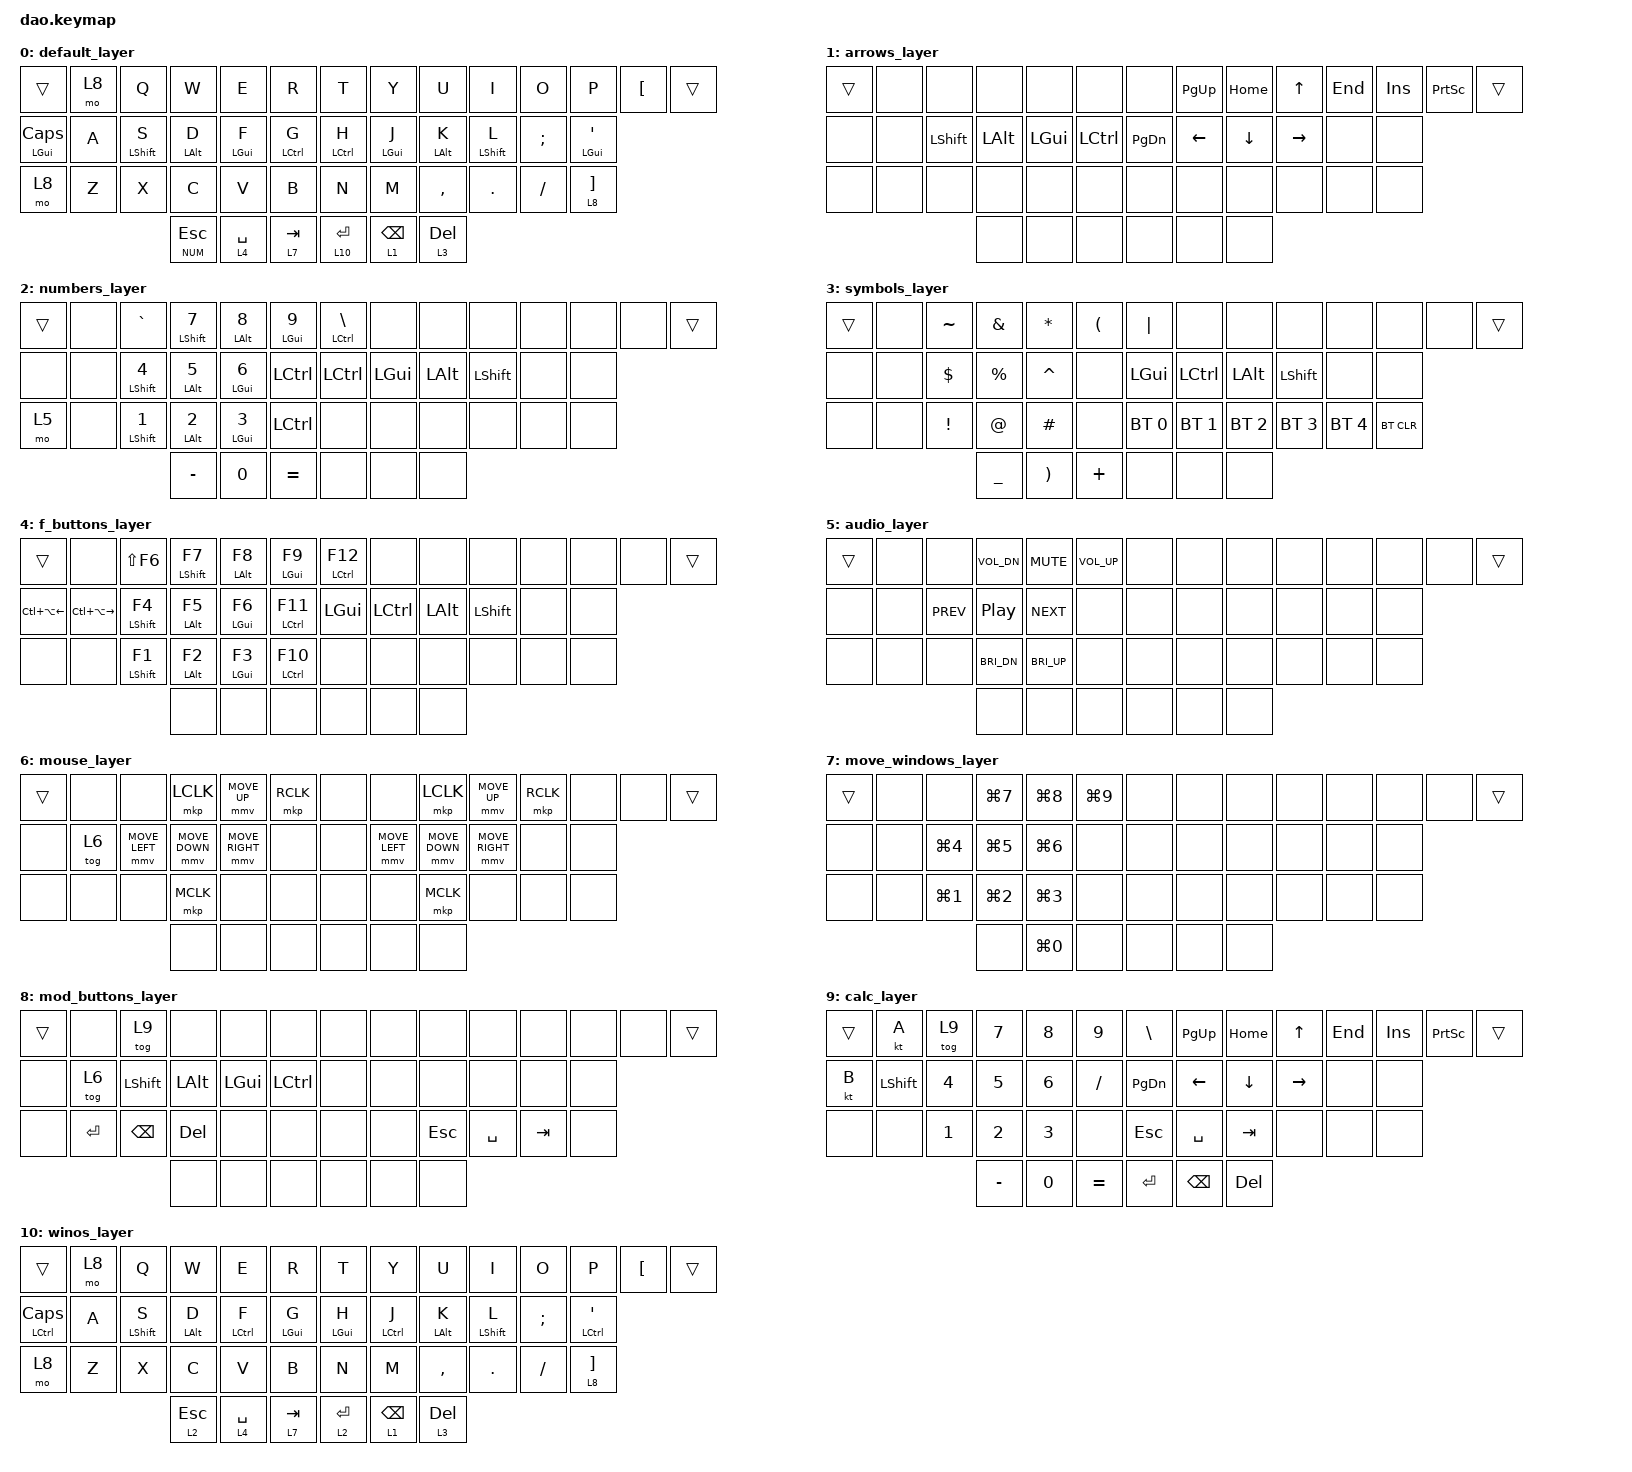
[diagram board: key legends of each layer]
#include <behaviors.dtsi>
#include <dt-bindings/zmk/bt.h>
#include <dt-bindings/zmk/keys.h>
#include <dt-bindings/zmk/keys.h>
#include <dt-bindings/zmk/rgb.h>

#

#define NUM 2

// dt-formatter: indent = "  "
// dt-formatter: multilineIntegerCellsIndent = "reindent"
// dt-formatter: multilineListCommaStyle = "leading"

&sk {
  /delete-property/ ignore-modifiers;
};

/ {
  combos {
    compatible = "zmk,combos";

    tab {
      key-positions = <2 3>;
      bindings = <&kp TAB>;
    };

    ctrl {
      key-positions = <26 27>;
      bindings = <&kp LCTRL>;
    };

    cmd {
      key-positions = <37 38>;
      bindings = <&kp LCMD>;
    };

    alt {
      key-positions = <39 40>;
      bindings = <&kp LEFT_ALT>;
    };

    shift {
      key-positions = <8 9>;
      bindings = <&kp LSHIFT>;
    };

    caps_word {
      key-positions = <17 18>;
      bindings = <&caps_word>;
    };

    delete {
      key-positions = <32 33>;
      bindings = <&kp DEL>;
    };
  };

  macros {
    greeting: greeting {
      compatible = "zmk,behavior-macro";
      #binding-cells = <0>;
      label = "greeting";
      bindings = <&kp H &kp E &kp L &kp L &kp O>;
    };
    rgblayer: rgb_layer {
      compatible = "zmk,behavior-macro-two-param";
      #binding-cells = <2>;
      label = "MOMENTARY_LAYER_WITH_RGB_COLOR";
      bindings
        = <&macro_param_2to2 &rgb_ug RGB_COLOR_HSB_CMD MACRO_PLACEHOLDER &macro_param_1to1>
        , <&macro_press>
        , <&mo MACRO_PLACEHOLDER>
        , <&macro_pause_for_release>
        , <&macro_release>
        , <&macro_param_1to1 &mo 0>
        , <&macro_tap>
        , <&rgb_ug RGB_TOG>
        ;
    };
    shift: with_lshift {
      compatible = "zmk,behavior-macro-one-param";
      #binding-cells = <1>;
      label = "KEY_PRESS_WITH_LEFT_SHIFT_MODIFIER";
      bindings
        = <&macro_press>
        , <&kp LSHFT>
        , <&macro_tap>
        , <&macro_param_1to1 &kp MACRO_PLACEHOLDER>
        , <&macro_release>
        , <&kp LSHFT>
        ;
    };
    as: autoshift {
      compatible = "zmk,behavior-macro-one-param";
      #binding-cells = <1>;
      label = "AUTOSHIFT_KEYPRESS";
      bindings
        = <&macro_press>
        , <&macro_param_1to1 &macro_param_1to2 &as_ht MACRO_PLACEHOLDER MACRO_PLACEHOLDER>
        , <&macro_pause_for_release>
        , <&macro_release>
        , <&macro_param_1to1 &macro_param_1to2 &as_ht MACRO_PLACEHOLDER MACRO_PLACEHOLDER>
        ;
    };
    mouse_on: mouse_on {
      label = "mouse_on";
      compatible = "zmk,behavior-macro";
      #binding-cells = <0>;
      bindings = <&macro_tap>, <&tog 6>;
    };
    mouse_off: mouse_off {
      label = "mouse_off";
      compatible = "zmk,behavior-macro";
      #binding-cells = <0>;
      bindings = <&macro_tap>, <&tog 6>;
    };
    lang: lang {
      label = "lang";
      compatible = "zmk,behavior-macro";
      #binding-cells = <0>;
      bindings = <&kp CAPS>;
    };
    calc_on: calc_on {
      label = "calc_on";
      compatible = "zmk,behavior-macro";
      #binding-cells = <0>;
      bindings = <&macro_tap>, <&tog 9>;
    };
    calc_off: calc_off {
      label = "calc_off";
      compatible = "zmk,behavior-macro";
      #binding-cells = <0>;
      bindings = <&macro_tap>, <&tog 9>;
    };
  };

  behaviors {
    as_ht: autoshift_hold_tap {
      compatible = "zmk,behavior-hold-tap";
      #binding-cells = <2>;
      label = "AUTOSHIFT_HOLD_TAP";
      bindings = <&shift>, <&kp>;

      tapping-term-ms = <190>;
    };
    hml: homewrow_mods_left {
      compatible = "zmk,behavior-hold-tap";
      #binding-cells = <2>;
      label = "HOMEROW_MODS_LEFT_HAND";
      bindings = <&kp>, <&kp>;

      tapping-term-ms = <200>;
      hold-trigger-key-positions = <6 7 8 9 10 11 18 19 20 21 22 23 30 31 32 33 34 35 39 40 41>;
    };
    hmr: homewrow_mods_right {
      compatible = "zmk,behavior-hold-tap";
      #binding-cells = <2>;
      label = "HOMEROW_MODS_RIGHT_HAND";
      bindings = <&kp>, <&kp>;

      tapping-term-ms = <200>;
      hold-trigger-key-positions = <0 1 2 3 4 5 12 13 14 15 16 17 24 25 26 27 28 29 36 37 38>;
    };
    capdance: capdance {
      compatible = "zmk,behavior-tap-dance";
      label = "CAPDANCE";
      #binding-cells = <0>;
      bindings = <&caps_word>, <&kp CAPS>;
    };
    volknob: volume_encoder {
      compatible = "zmk,behavior-sensor-rotate";
      label = "ENCODER_VOLUME_KNOB";
      #sensor-binding-cells = <0>;
      bindings = <&kp C_VOL_UP>, <&kp C_VOL_DN>;
    };
    rgbknob: rgb_encoder {
      compatible = "zmk,behavior-sensor-rotate-var";
      label = "ENCODER_RGB";
      #sensor-binding-cells = <2>;
      bindings = <&rgb_ug>, <&rgb_ug>;
    };
  };

  conditional_layers {
    compatible = "zmk,conditional-layers";

    tri_layer {
      if-layers = <1 2>;
      then-layer = <3>;
    };
  };

  keymap {
    compatible = "zmk,keymap";

    default_layer {
      bindings = <
        &trans         &mo 8  &kp Q        &kp W        &kp E        &kp R          &kp T        &kp Y       &kp U       &kp I        &kp O     &kp P         &kp LBKT    &trans
        &mt LGUI CAPS  &kp A  &mt LSHFT S  &mt LALT D   &mt LGUI F   &mt LCTRL G    &mt LCTRL H  &mt LGUI J  &mt LALT K  &mt LSHFT L  &kp SEMI  &mt LGUI SQT
        &mo 8          &kp Z  &kp X        &kp C        &kp V        &kp B          &kp N        &kp M       &kp COMMA   &kp DOT      &kp FSLH  &lt 8 RBKT
                                           &lt NUM ESC  &lt 4 SPACE  &lt 7 TAB      &lt 10 RET   &lt 1 BSPC  &lt 3 DEL
      >;
    };

    arrows_layer {
      bindings = <
        &trans  &none  &none      &none     &none     &none        &none      &kp PG_UP  &kp HOME  &kp UP     &kp END  &kp INS  &kp PSCRN    &trans
        &none   &none  &kp LSHFT  &kp LALT  &kp LGUI  &kp LCTRL    &kp PG_DN  &kp LEFT   &kp DOWN  &kp RIGHT  &none    &none
        &none   &none  &none      &none     &none     &none        &none      &none      &none     &none      &none    &none
                                  &none     &none     &none        &none      &none      &none
      >;
    };

    numbers_layer {
      bindings = <
        &trans  &none  &kp GRAVE     &mt LSHFT N7  &mt LALT N8  &mt LGUI N9    &mt LCTRL BSLH  &none     &none     &none      &none  &none  &none    &trans
        &none   &none  &mt LSHFT N4  &mt LALT N5   &mt LGUI N6  &kp LCTRL      &kp LCTRL       &kp LGUI  &kp LALT  &kp LSHFT  &none  &none
        &mo 5   &none  &mt LSHFT N1  &mt LALT N2   &mt LGUI N3  &kp LCTRL      &none           &none     &none     &none      &none  &none
                                     &kp MINUS     &kp N0       &kp EQUAL      &none           &none     &none
      >;
    };

    symbols_layer {
      bindings = <
        &trans  &none  &kp TILDE  &kp AMPS   &kp STAR   &kp LPAR    &kp PIPE      &none         &none         &none         &none         &none       &none    &trans
        &none   &none  &kp DLLR   &kp PRCNT  &kp CARET  &none       &kp LGUI      &kp LCTRL     &kp LALT      &kp LSHFT     &none         &none
        &none   &none  &kp EXCL   &kp AT     &kp HASH   &none       &bt BT_SEL 0  &bt BT_SEL 1  &bt BT_SEL 2  &bt BT_SEL 3  &bt BT_SEL 4  &bt BT_CLR
                                  &kp UNDER  &kp RPAR   &kp PLUS    &none         &none         &none
      >;
    };

    f_buttons_layer {
      bindings = <
        &trans            &none              &kp LS(F6)    &mt LSHFT F7  &mt LALT F8  &mt LGUI F9      &mt LCTRL F12  &none      &none     &none      &none  &none  &none    &trans
        &kp LC(LA(LEFT))  &kp LC(LA(RIGHT))  &mt LSHFT F4  &mt LALT F5   &mt LGUI F6  &mt LCTRL F11    &kp LGUI       &kp LCTRL  &kp LALT  &kp LSHFT  &none  &none
        &none             &none              &mt LSHFT F1  &mt LALT F2   &mt LGUI F3  &mt LCTRL F10    &none          &none      &none     &none      &none  &none
                                                           &none         &none        &none            &none          &none      &none
      >;
    };

    audio_layer {
      bindings = <
        &trans  &none  &none       &kp C_VOL_DN  &kp C_MUTE    &kp C_VOL_UP    &none  &none  &none  &none  &none  &none  &none    &trans
        &none   &none  &kp C_PREV  &kp C_PP      &kp C_NEXT    &none           &none  &none  &none  &none  &none  &none
        &none   &none  &none       &kp C_BRI_DN  &kp C_BRI_UP  &none           &none  &none  &none  &none  &none  &none
                                   &none         &none         &none           &none  &none  &none
      >;
    };

    mouse_layer {
      bindings = <
        &trans  &none   &none           &mkp LCLK       &mmv MOVE_UP     &mkp RCLK    &none  &none           &mkp LCLK       &mmv MOVE_UP     &mkp RCLK  &none  &none    &trans
        &none   &tog 6  &mmv MOVE_LEFT  &mmv MOVE_DOWN  &mmv MOVE_RIGHT  &none        &none  &mmv MOVE_LEFT  &mmv MOVE_DOWN  &mmv MOVE_RIGHT  &none      &none
        &none   &none   &none           &mkp MCLK       &none            &none        &none  &none           &mkp MCLK       &none            &none      &none
                                        &none           &none            &none        &none  &none           &none
      >;
    };

    move_windows_layer {
      bindings = <
        &trans  &none  &none       &kp LG(N7)  &kp LG(N8)  &kp LG(N9)    &none  &none  &none  &none  &none  &none  &none    &trans
        &none   &none  &kp LG(N4)  &kp LG(N5)  &kp LG(N6)  &none         &none  &none  &none  &none  &none  &none
        &none   &none  &kp LG(N1)  &kp LG(N2)  &kp LG(N3)  &none         &none  &none  &none  &none  &none  &none
                                   &none       &kp LG(N0)  &none         &none  &none  &none
      >;
    };

    mod_buttons_layer {
      bindings = <
        &trans  &none    &tog 9     &none     &none     &none        &none  &none  &none    &none      &none    &none  &none    &trans
        &none   &tog 6   &kp LSHFT  &kp LALT  &kp LGUI  &kp LCTRL    &none  &none  &none    &none      &none    &none
        &none   &kp RET  &kp BSPC   &kp DEL   &none     &none        &none  &none  &kp ESC  &kp SPACE  &kp TAB  &none
                                    &none     &none     &none        &none  &none  &none
      >;
    };

    calc_layer {
      bindings = <
        &trans  &kt A      &tog 9  &kp N7     &kp N8  &kp N9       &kp BSLH   &kp PG_UP  &kp HOME  &kp UP     &kp END  &kp INS  &kp PSCRN    &trans
        &kt B   &kp LSHFT  &kp N4  &kp N5     &kp N6  &kp FSLH     &kp PG_DN  &kp LEFT   &kp DOWN  &kp RIGHT  &none    &none
        &none   &none      &kp N1  &kp N2     &kp N3  &none        &kp ESC    &kp SPACE  &kp TAB   &none      &none    &none
                                   &kp MINUS  &kp N0  &kp EQUAL    &kp RET    &kp BSPC   &kp DEL
      >;
    };

    winos_layer {
      bindings = <
        &trans          &mo 8  &kp Q        &kp W       &kp E        &kp R         &kp T       &kp Y        &kp U       &kp I        &kp O     &kp P          &kp LBKT    &trans
        &mt LCTRL CAPS  &kp A  &mt LSHFT S  &mt LALT D  &mt LCTRL F  &mt LGUI G    &mt LGUI H  &mt LCTRL J  &mt LALT K  &mt LSHFT L  &kp SEMI  &mt LCTRL SQT
        &mo 8           &kp Z  &kp X        &kp C       &kp V        &kp B         &kp N       &kp M        &kp COMMA   &kp DOT      &kp FSLH  &lt 8 RBKT
                                            &lt 2 ESC   &lt 4 SPACE  &lt 7 TAB     &lt 2 RET   &lt 1 BSPC   &lt 3 DEL
      >;
    };
  };
};
